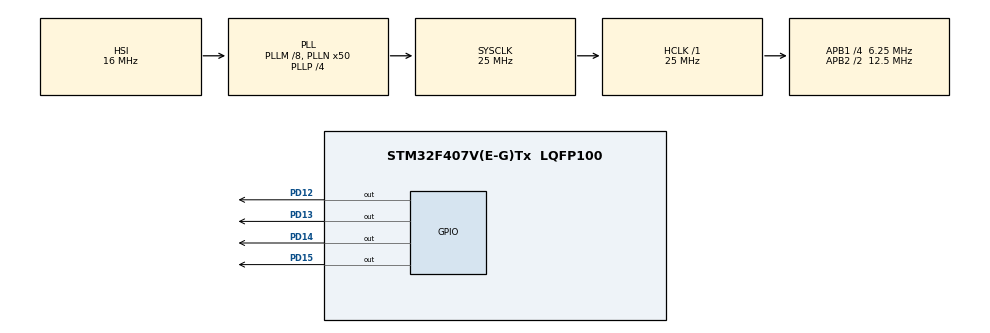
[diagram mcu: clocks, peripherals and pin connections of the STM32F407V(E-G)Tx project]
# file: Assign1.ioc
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FREERTOS.INCLUDE_vTaskDelayUntil=1
FREERTOS.Tasks01=defaultTask,-3,128,StartDefaultTask,Default,NULL,Dynamic,NULL,NULL
FREERTOS.configUSE_NEWLIB_REENTRANT=1
Mcu.Family=STM32F4
Mcu.Name=STM32F407V(E-G)Tx
Mcu.Package=LQFP100
NVIC.PriorityGroup=NVIC_PRIORITYGROUP_4
NVIC.TIM1_UP_TIM10_IRQn=true\:15\:0\:false\:false\:true\:false\:false\:true\:true
NVIC.TimeBase=TIM1_UP_TIM10_IRQn
NVIC.TimeBaseIP=TIM1
PD12.Signal=GPIO_Output
PD13.Signal=GPIO_Output
PD14.Signal=GPIO_Output
PD15.Signal=GPIO_Output
ProjectManager.HeapSize=0x200
ProjectManager.StackSize=0x400
ProjectManager.TargetToolchain=STM32CubeIDE
RCC.48MHZClocksFreq_Value=14285714.285714285
RCC.AHBFreq_Value=25000000
RCC.APB1CLKDivider=RCC_HCLK_DIV4
RCC.APB1Freq_Value=6250000
RCC.APB1TimFreq_Value=12500000
RCC.APB2CLKDivider=RCC_HCLK_DIV2
RCC.APB2Freq_Value=12500000
RCC.APB2TimFreq_Value=25000000
RCC.CortexFreq_Value=25000000
RCC.HCLKFreq_Value=25000000
RCC.HSE_VALUE=8000000
RCC.HSI_VALUE=16000000
RCC.LSE_VALUE=32768
RCC.PLLM=8
RCC.PLLN=50
RCC.PLLP=RCC_PLLP_DIV4
RCC.PLLQ=7
RCC.SYSCLKFreq_VALUE=25000000
RCC.SYSCLKSource=RCC_SYSCLKSOURCE_PLLCLK
RCC.VCOOutputFreq_Value=100000000
VP_FREERTOS_VS_CMSIS_V1.Mode=CMSIS_V1
VP_SYS_VS_tim1.Mode=TIM1
board=STM32F407G-DISC1

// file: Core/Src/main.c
/* USER CODE BEGIN Header */
/**
  ******************************************************************************
  * @file           : main.c
  * @brief          : Main program body
  ******************************************************************************
  * @attention
  *
  * Copyright (c) 2024 STMicroelectronics.
  * All rights reserved.
  *
  * This software is licensed under terms that can be found in the LICENSE file
  * in the root directory of this software component.
  * If no LICENSE file comes with this software, it is provided AS-IS.
  *
  ******************************************************************************
  */
/* USER CODE END Header */
#include "main.h"
#include "cmsis_os.h"

osThreadId defaultTaskHandle;

void SystemClock_Config(void);
static void MX_GPIO_Init(void);
void StartDefaultTask(void const * argument);

/* USER CODE BEGIN 0 */
void vLedTask1(void *pvParam)
{
	portTickType wakeupTime = xTaskGetTickCount();
		while(1)
		{
			HAL_GPIO_TogglePin(GPIOD, GPIO_PIN_12);
			vTaskDelayUntil(&wakeupTime ,1000 / portTICK_RATE_MS);
		}
		vTaskDelete(NULL);
}
void vLedTask2(void *pvParam)
{
	portTickType wakeupTime = xTaskGetTickCount();
		while(1)
		{
			HAL_GPIO_TogglePin(GPIOD, GPIO_PIN_13);
			vTaskDelayUntil(&wakeupTime ,2000 / portTICK_RATE_MS);
		}
		vTaskDelete(NULL);
}
void vLedTask3(void *pvParam)
{
	portTickType wakeupTime = xTaskGetTickCount();
		while(1)
		{
			HAL_GPIO_TogglePin(GPIOD, GPIO_PIN_14);
			vTaskDelayUntil(&wakeupTime ,3000 / portTICK_RATE_MS);
		}
		vTaskDelete(NULL);
}
void vLedTask4(void *pvParam)
{
	portTickType wakeupTime = xTaskGetTickCount();
		while(1)
		{
			HAL_GPIO_TogglePin(GPIOD, GPIO_PIN_15);
			vTaskDelayUntil(&wakeupTime ,4000 / portTICK_RATE_MS);
		}
		vTaskDelete(NULL);
}

/* USER CODE END 0 */

int main(void)
{

  /* USER CODE BEGIN 1 */

	BaseType_t ret;

  /* USER CODE END 1 */

  /* MCU Configuration--------------------------------------------------------*/

  /* Reset of all peripherals, Initializes the Flash interface and the Systick. */
  HAL_Init();

  /* Configure the system clock */
  SystemClock_Config();

  /* Initialize all configured peripherals */
  MX_GPIO_Init();
  /* USER CODE BEGIN 2 */
  ret = xTaskCreate(vLedTask1, "Periodic", configMINIMAL_STACK_SIZE, NULL, 2, NULL);
    if(ret != pdTRUE)
  	  Error_Handler();

   ret = xTaskCreate(vLedTask2, "Periodic", configMINIMAL_STACK_SIZE, NULL, 2, NULL);
      if(ret != pdTRUE)
    	  Error_Handler();

   ret = xTaskCreate(vLedTask3, "Periodic", configMINIMAL_STACK_SIZE, NULL, 2, NULL);
        if(ret != pdTRUE)
      	  Error_Handler();

    ret = xTaskCreate(vLedTask4, "Periodic", configMINIMAL_STACK_SIZE, NULL, 2, NULL);
          if(ret != pdTRUE)
        	  Error_Handler();
  /* USER CODE END 2 */

  /* Create the thread(s) */
  /* definition and creation of defaultTask */
  osThreadDef(defaultTask, StartDefaultTask, osPriorityIdle, 0, 128);
  defaultTaskHandle = osThreadCreate(osThread(defaultTask), NULL);

  /* Start scheduler */
  osKernelStart();

  /* We should never get here as control is now taken by the scheduler */

  /* Infinite loop */
  while (1)
  {

  }
}

void SystemClock_Config(void)
{
  RCC_OscInitTypeDef RCC_OscInitStruct = {0};
  RCC_ClkInitTypeDef RCC_ClkInitStruct = {0};

  /** Configure the main internal regulator output voltage
  */
  __HAL_RCC_PWR_CLK_ENABLE();
  __HAL_PWR_VOLTAGESCALING_CONFIG(PWR_REGULATOR_VOLTAGE_SCALE1);

  /** Initializes the RCC Oscillators according to the specified parameters
  * in the RCC_OscInitTypeDef structure.
  */
  RCC_OscInitStruct.OscillatorType = RCC_OSCILLATORTYPE_HSI;
  RCC_OscInitStruct.HSIState = RCC_HSI_ON;
  RCC_OscInitStruct.HSICalibrationValue = RCC_HSICALIBRATION_DEFAULT;
  RCC_OscInitStruct.PLL.PLLState = RCC_PLL_ON;
  RCC_OscInitStruct.PLL.PLLSource = RCC_PLLSOURCE_HSI;
  RCC_OscInitStruct.PLL.PLLM = 8;
  RCC_OscInitStruct.PLL.PLLN = 50;
  RCC_OscInitStruct.PLL.PLLP = RCC_PLLP_DIV4;
  RCC_OscInitStruct.PLL.PLLQ = 7;
  if (HAL_RCC_OscConfig(&RCC_OscInitStruct) != HAL_OK)
  {
    Error_Handler();
  }

  /** Initializes the CPU, AHB and APB buses clocks
  */
  RCC_ClkInitStruct.ClockType = RCC_CLOCKTYPE_HCLK|RCC_CLOCKTYPE_SYSCLK
                              |RCC_CLOCKTYPE_PCLK1|RCC_CLOCKTYPE_PCLK2;
  RCC_ClkInitStruct.SYSCLKSource = RCC_SYSCLKSOURCE_PLLCLK;
  RCC_ClkInitStruct.AHBCLKDivider = RCC_SYSCLK_DIV1;
  RCC_ClkInitStruct.APB1CLKDivider = RCC_HCLK_DIV4;
  RCC_ClkInitStruct.APB2CLKDivider = RCC_HCLK_DIV2;

  if (HAL_RCC_ClockConfig(&RCC_ClkInitStruct, FLASH_LATENCY_0) != HAL_OK)
  {
    Error_Handler();
  }
}

static void MX_GPIO_Init(void)
{
  GPIO_InitTypeDef GPIO_InitStruct = {0};

  /* GPIO Ports Clock Enable */
  __HAL_RCC_GPIOD_CLK_ENABLE();

  /*Configure GPIO pin Output Level */
  HAL_GPIO_WritePin(GPIOD, GPIO_PIN_12|GPIO_PIN_13|GPIO_PIN_14|GPIO_PIN_15, GPIO_PIN_RESET);

  /*Configure GPIO pins : PD12 PD13 PD14 PD15 */
  GPIO_InitStruct.Pin = GPIO_PIN_12|GPIO_PIN_13|GPIO_PIN_14|GPIO_PIN_15;
  GPIO_InitStruct.Mode = GPIO_MODE_OUTPUT_PP;
  GPIO_InitStruct.Pull = GPIO_NOPULL;
  GPIO_InitStruct.Speed = GPIO_SPEED_FREQ_LOW;
  HAL_GPIO_Init(GPIOD, &GPIO_InitStruct);

}

void StartDefaultTask(void const * argument)
{
  for(;;)
  {
    osDelay(1);
  }
}

void HAL_TIM_PeriodElapsedCallback(TIM_HandleTypeDef *htim)
{
  if (htim->Instance == TIM1) {
    HAL_IncTick();
  }
}

void Error_Handler(void)
{
  __disable_irq();
  while (1)
  {
  }
}
